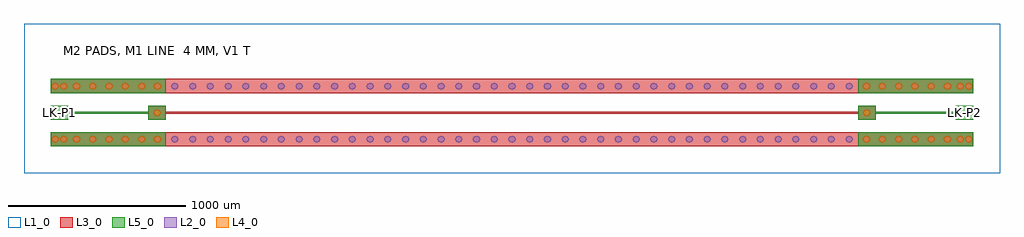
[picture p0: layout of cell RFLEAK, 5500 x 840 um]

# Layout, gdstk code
import gdstk
lib = gdstk.Library(unit=1e-6, precision=1e-09)
def R(c, l, rs):  # rectangles x0, y0, x1, y1
    for r in rs: c.add(gdstk.rectangle(r[:2], r[2:], *l))
def A(c, l, x, y, w, h, nx, ny, dx, dy):  # array of equal rectangles
    R(c, l, [(x+i*dx, y+j*dy, x+i*dx+w, y+j*dy+h) for i in range(nx) for j in range(ny)])
def P(c, l, *ps):  # polygons
    for p in ps: c.add(gdstk.Polygon(p, *l))
L1_0 = (1, 0)
L2_0 = (2, 0)
L3_0 = (3, 0)
L4_0 = (4, 0)
L5_0 = (5, 0)

rfleak = lib.new_cell('RFLEAK')
R(rfleak, L1_0, [(-2750,-340,2750,500)])
P(rfleak, L2_0, [(-2555,150),(-2560.858,164.142),(-2575,170),(-2589.142,164.142),(-2595,150),(-2589.142,135.858),(-2575,130),(-2560.858,135.858)],
  [(-2505,150),(-2510.858,164.142),(-2525,170),(-2539.142,164.142),(-2545,150),(-2539.142,135.858),(-2525,130),(-2510.858,135.858)],
  [(-2555,-150),(-2560.858,-135.858),(-2575,-130),(-2589.142,-135.858),(-2595,-150),(-2589.142,-164.142),(-2575,-170),(-2560.858,-164.142)],
  [(-2505,-150),(-2510.858,-135.858),(-2525,-130),(-2539.142,-135.858),(-2545,-150),(-2539.142,-164.142),(-2525,-170),(-2510.858,-164.142)],
  [(2545,150),(2539.142,164.142),(2525,170),(2510.858,164.142),(2505,150),(2510.858,135.858),(2525,130),(2539.142,135.858)],
  [(2595,150),(2589.142,164.142),(2575,170),(2560.858,164.142),(2555,150),(2560.858,135.858),(2575,130),(2589.142,135.858)],
  [(2545,-150),(2539.142,-135.858),(2525,-130),(2510.858,-135.858),(2505,-150),(2510.858,-164.142),(2525,-170),(2539.142,-164.142)],
  [(2595,-150),(2589.142,-135.858),(2575,-130),(2560.858,-135.858),(2555,-150),(2560.858,-164.142),(2575,-170),(2589.142,-164.142)],
  [(-2434.167,150),(-2440.025,164.142),(-2454.167,170),(-2468.309,164.142),(-2474.167,150),(-2468.309,135.858),(-2454.167,130),(-2440.025,135.858)],
  [(-2342.5,150),(-2348.358,164.142),(-2362.5,170),(-2376.642,164.142),(-2382.5,150),(-2376.642,135.858),(-2362.5,130),(-2348.358,135.858)],
  [(-2250.833,150),(-2256.691,164.142),(-2270.833,170),(-2284.975,164.142),(-2290.833,150),(-2284.975,135.858),(-2270.833,130),(-2256.691,135.858)],
  [(-2159.167,150),(-2165.025,164.142),(-2179.167,170),(-2193.309,164.142),(-2199.167,150),(-2193.309,135.858),(-2179.167,130),(-2165.025,135.858)],
  [(-2067.5,150),(-2073.358,164.142),(-2087.5,170),(-2101.642,164.142),(-2107.5,150),(-2101.642,135.858),(-2087.5,130),(-2073.358,135.858)],
  [(-1975.833,150),(-1981.691,164.142),(-1995.833,170),(-2009.975,164.142),(-2015.833,150),(-2009.975,135.858),(-1995.833,130),(-1981.691,135.858)],
  [(-2434.167,-150),(-2440.025,-135.858),(-2454.167,-130),(-2468.309,-135.858),(-2474.167,-150),(-2468.309,-164.142),(-2454.167,-170),(-2440.025,-164.142)],
  [(-2342.5,-150),(-2348.358,-135.858),(-2362.5,-130),(-2376.642,-135.858),(-2382.5,-150),(-2376.642,-164.142),(-2362.5,-170),(-2348.358,-164.142)],
  [(-2250.833,-150),(-2256.691,-135.858),(-2270.833,-130),(-2284.975,-135.858),(-2290.833,-150),(-2284.975,-164.142),(-2270.833,-170),(-2256.691,-164.142)],
  [(-2159.167,-150),(-2165.025,-135.858),(-2179.167,-130),(-2193.309,-135.858),(-2199.167,-150),(-2193.309,-164.142),(-2179.167,-170),(-2165.025,-164.142)],
  [(-2067.5,-150),(-2073.358,-135.858),(-2087.5,-130),(-2101.642,-135.858),(-2107.5,-150),(-2101.642,-164.142),(-2087.5,-170),(-2073.358,-164.142)],
  [(-1975.833,-150),(-1981.691,-135.858),(-1995.833,-130),(-2009.975,-135.858),(-2015.833,-150),(-2009.975,-164.142),(-1995.833,-170),(-1981.691,-164.142)],
  [(2015.833,150),(2009.975,164.142),(1995.833,170),(1981.691,164.142),(1975.833,150),(1981.691,135.858),(1995.833,130),(2009.975,135.858)],
  [(2107.5,150),(2101.642,164.142),(2087.5,170),(2073.358,164.142),(2067.5,150),(2073.358,135.858),(2087.5,130),(2101.642,135.858)],
  [(2199.167,150),(2193.309,164.142),(2179.167,170),(2165.025,164.142),(2159.167,150),(2165.025,135.858),(2179.167,130),(2193.309,135.858)],
  [(2290.833,150),(2284.975,164.142),(2270.833,170),(2256.691,164.142),(2250.833,150),(2256.691,135.858),(2270.833,130),(2284.975,135.858)],
  [(2382.5,150),(2376.642,164.142),(2362.5,170),(2348.358,164.142),(2342.5,150),(2348.358,135.858),(2362.5,130),(2376.642,135.858)],
  [(2474.167,150),(2468.309,164.142),(2454.167,170),(2440.025,164.142),(2434.167,150),(2440.025,135.858),(2454.167,130),(2468.309,135.858)],
  [(2015.833,-150),(2009.975,-135.858),(1995.833,-130),(1981.691,-135.858),(1975.833,-150),(1981.691,-164.142),(1995.833,-170),(2009.975,-164.142)],
  [(2107.5,-150),(2101.642,-135.858),(2087.5,-130),(2073.358,-135.858),(2067.5,-150),(2073.358,-164.142),(2087.5,-170),(2101.642,-164.142)],
  [(2199.167,-150),(2193.309,-135.858),(2179.167,-130),(2165.025,-135.858),(2159.167,-150),(2165.025,-164.142),(2179.167,-170),(2193.309,-164.142)],
  [(2290.833,-150),(2284.975,-135.858),(2270.833,-130),(2256.691,-135.858),(2250.833,-150),(2256.691,-164.142),(2270.833,-170),(2284.975,-164.142)],
  [(2382.5,-150),(2376.642,-135.858),(2362.5,-130),(2348.358,-135.858),(2342.5,-150),(2348.358,-164.142),(2362.5,-170),(2376.642,-164.142)],
  [(2474.167,-150),(2468.309,-135.858),(2454.167,-130),(2440.025,-135.858),(2434.167,-150),(2440.025,-164.142),(2454.167,-170),(2468.309,-164.142)],
  [(-1880,150),(-1885.858,164.142),(-1900,170),(-1914.142,164.142),(-1920,150),(-1914.142,135.858),(-1900,130),(-1885.858,135.858)],
  [(-1780,150),(-1785.858,164.142),(-1800,170),(-1814.142,164.142),(-1820,150),(-1814.142,135.858),(-1800,130),(-1785.858,135.858)],
  [(-1680,150),(-1685.858,164.142),(-1700,170),(-1714.142,164.142),(-1720,150),(-1714.142,135.858),(-1700,130),(-1685.858,135.858)],
  [(-1580,150),(-1585.858,164.142),(-1600,170),(-1614.142,164.142),(-1620,150),(-1614.142,135.858),(-1600,130),(-1585.858,135.858)],
  [(-1480,150),(-1485.858,164.142),(-1500,170),(-1514.142,164.142),(-1520,150),(-1514.142,135.858),(-1500,130),(-1485.858,135.858)],
  [(-1380,150),(-1385.858,164.142),(-1400,170),(-1414.142,164.142),(-1420,150),(-1414.142,135.858),(-1400,130),(-1385.858,135.858)],
  [(-1280,150),(-1285.858,164.142),(-1300,170),(-1314.142,164.142),(-1320,150),(-1314.142,135.858),(-1300,130),(-1285.858,135.858)],
  [(-1180,150),(-1185.858,164.142),(-1200,170),(-1214.142,164.142),(-1220,150),(-1214.142,135.858),(-1200,130),(-1185.858,135.858)],
  [(-1080,150),(-1085.858,164.142),(-1100,170),(-1114.142,164.142),(-1120,150),(-1114.142,135.858),(-1100,130),(-1085.858,135.858)],
  [(-980,150),(-985.858,164.142),(-1000,170),(-1014.142,164.142),(-1020,150),(-1014.142,135.858),(-1000,130),(-985.858,135.858)],
  [(-880,150),(-885.858,164.142),(-900,170),(-914.142,164.142),(-920,150),(-914.142,135.858),(-900,130),(-885.858,135.858)],
  [(-780,150),(-785.858,164.142),(-800,170),(-814.142,164.142),(-820,150),(-814.142,135.858),(-800,130),(-785.858,135.858)],
  [(-680,150),(-685.858,164.142),(-700,170),(-714.142,164.142),(-720,150),(-714.142,135.858),(-700,130),(-685.858,135.858)],
  [(-580,150),(-585.858,164.142),(-600,170),(-614.142,164.142),(-620,150),(-614.142,135.858),(-600,130),(-585.858,135.858)],
  [(-480,150),(-485.858,164.142),(-500,170),(-514.142,164.142),(-520,150),(-514.142,135.858),(-500,130),(-485.858,135.858)],
  [(-380,150),(-385.858,164.142),(-400,170),(-414.142,164.142),(-420,150),(-414.142,135.858),(-400,130),(-385.858,135.858)],
  [(-280,150),(-285.858,164.142),(-300,170),(-314.142,164.142),(-320,150),(-314.142,135.858),(-300,130),(-285.858,135.858)],
  [(-180,150),(-185.858,164.142),(-200,170),(-214.142,164.142),(-220,150),(-214.142,135.858),(-200,130),(-185.858,135.858)],
  [(-80,150),(-85.858,164.142),(-100,170),(-114.142,164.142),(-120,150),(-114.142,135.858),(-100,130),(-85.858,135.858)],
  [(20,150),(14.142,164.142),(0,170),(-14.142,164.142),(-20,150),(-14.142,135.858),(0,130),(14.142,135.858)],
  [(120,150),(114.142,164.142),(100,170),(85.858,164.142),(80,150),(85.858,135.858),(100,130),(114.142,135.858)],
  [(220,150),(214.142,164.142),(200,170),(185.858,164.142),(180,150),(185.858,135.858),(200,130),(214.142,135.858)],
  [(320,150),(314.142,164.142),(300,170),(285.858,164.142),(280,150),(285.858,135.858),(300,130),(314.142,135.858)],
  [(420,150),(414.142,164.142),(400,170),(385.858,164.142),(380,150),(385.858,135.858),(400,130),(414.142,135.858)],
  [(520,150),(514.142,164.142),(500,170),(485.858,164.142),(480,150),(485.858,135.858),(500,130),(514.142,135.858)],
  [(620,150),(614.142,164.142),(600,170),(585.858,164.142),(580,150),(585.858,135.858),(600,130),(614.142,135.858)],
  [(720,150),(714.142,164.142),(700,170),(685.858,164.142),(680,150),(685.858,135.858),(700,130),(714.142,135.858)],
  [(820,150),(814.142,164.142),(800,170),(785.858,164.142),(780,150),(785.858,135.858),(800,130),(814.142,135.858)],
  [(920,150),(914.142,164.142),(900,170),(885.858,164.142),(880,150),(885.858,135.858),(900,130),(914.142,135.858)],
  [(1020,150),(1014.142,164.142),(1000,170),(985.858,164.142),(980,150),(985.858,135.858),(1000,130),(1014.142,135.858)],
  [(1120,150),(1114.142,164.142),(1100,170),(1085.858,164.142),(1080,150),(1085.858,135.858),(1100,130),(1114.142,135.858)],
  [(1220,150),(1214.142,164.142),(1200,170),(1185.858,164.142),(1180,150),(1185.858,135.858),(1200,130),(1214.142,135.858)],
  [(1320,150),(1314.142,164.142),(1300,170),(1285.858,164.142),(1280,150),(1285.858,135.858),(1300,130),(1314.142,135.858)],
  [(1420,150),(1414.142,164.142),(1400,170),(1385.858,164.142),(1380,150),(1385.858,135.858),(1400,130),(1414.142,135.858)],
  [(1520,150),(1514.142,164.142),(1500,170),(1485.858,164.142),(1480,150),(1485.858,135.858),(1500,130),(1514.142,135.858)],
  [(1620,150),(1614.142,164.142),(1600,170),(1585.858,164.142),(1580,150),(1585.858,135.858),(1600,130),(1614.142,135.858)],
  [(1720,150),(1714.142,164.142),(1700,170),(1685.858,164.142),(1680,150),(1685.858,135.858),(1700,130),(1714.142,135.858)],
  [(1820,150),(1814.142,164.142),(1800,170),(1785.858,164.142),(1780,150),(1785.858,135.858),(1800,130),(1814.142,135.858)],
  [(1920,150),(1914.142,164.142),(1900,170),(1885.858,164.142),(1880,150),(1885.858,135.858),(1900,130),(1914.142,135.858)],
  [(-1880,-150),(-1885.858,-135.858),(-1900,-130),(-1914.142,-135.858),(-1920,-150),(-1914.142,-164.142),(-1900,-170),(-1885.858,-164.142)],
  [(-1780,-150),(-1785.858,-135.858),(-1800,-130),(-1814.142,-135.858),(-1820,-150),(-1814.142,-164.142),(-1800,-170),(-1785.858,-164.142)],
  [(-1680,-150),(-1685.858,-135.858),(-1700,-130),(-1714.142,-135.858),(-1720,-150),(-1714.142,-164.142),(-1700,-170),(-1685.858,-164.142)],
  [(-1580,-150),(-1585.858,-135.858),(-1600,-130),(-1614.142,-135.858),(-1620,-150),(-1614.142,-164.142),(-1600,-170),(-1585.858,-164.142)],
  [(-1480,-150),(-1485.858,-135.858),(-1500,-130),(-1514.142,-135.858),(-1520,-150),(-1514.142,-164.142),(-1500,-170),(-1485.858,-164.142)],
  [(-1380,-150),(-1385.858,-135.858),(-1400,-130),(-1414.142,-135.858),(-1420,-150),(-1414.142,-164.142),(-1400,-170),(-1385.858,-164.142)],
  [(-1280,-150),(-1285.858,-135.858),(-1300,-130),(-1314.142,-135.858),(-1320,-150),(-1314.142,-164.142),(-1300,-170),(-1285.858,-164.142)],
  [(-1180,-150),(-1185.858,-135.858),(-1200,-130),(-1214.142,-135.858),(-1220,-150),(-1214.142,-164.142),(-1200,-170),(-1185.858,-164.142)],
  [(-1080,-150),(-1085.858,-135.858),(-1100,-130),(-1114.142,-135.858),(-1120,-150),(-1114.142,-164.142),(-1100,-170),(-1085.858,-164.142)],
  [(-980,-150),(-985.858,-135.858),(-1000,-130),(-1014.142,-135.858),(-1020,-150),(-1014.142,-164.142),(-1000,-170),(-985.858,-164.142)],
  [(-880,-150),(-885.858,-135.858),(-900,-130),(-914.142,-135.858),(-920,-150),(-914.142,-164.142),(-900,-170),(-885.858,-164.142)],
  [(-780,-150),(-785.858,-135.858),(-800,-130),(-814.142,-135.858),(-820,-150),(-814.142,-164.142),(-800,-170),(-785.858,-164.142)],
  [(-680,-150),(-685.858,-135.858),(-700,-130),(-714.142,-135.858),(-720,-150),(-714.142,-164.142),(-700,-170),(-685.858,-164.142)],
  [(-580,-150),(-585.858,-135.858),(-600,-130),(-614.142,-135.858),(-620,-150),(-614.142,-164.142),(-600,-170),(-585.858,-164.142)],
  [(-480,-150),(-485.858,-135.858),(-500,-130),(-514.142,-135.858),(-520,-150),(-514.142,-164.142),(-500,-170),(-485.858,-164.142)],
  [(-380,-150),(-385.858,-135.858),(-400,-130),(-414.142,-135.858),(-420,-150),(-414.142,-164.142),(-400,-170),(-385.858,-164.142)],
  [(-280,-150),(-285.858,-135.858),(-300,-130),(-314.142,-135.858),(-320,-150),(-314.142,-164.142),(-300,-170),(-285.858,-164.142)],
  [(-180,-150),(-185.858,-135.858),(-200,-130),(-214.142,-135.858),(-220,-150),(-214.142,-164.142),(-200,-170),(-185.858,-164.142)],
  [(-80,-150),(-85.858,-135.858),(-100,-130),(-114.142,-135.858),(-120,-150),(-114.142,-164.142),(-100,-170),(-85.858,-164.142)],
  [(20,-150),(14.142,-135.858),(0,-130),(-14.142,-135.858),(-20,-150),(-14.142,-164.142),(0,-170),(14.142,-164.142)],
  [(120,-150),(114.142,-135.858),(100,-130),(85.858,-135.858),(80,-150),(85.858,-164.142),(100,-170),(114.142,-164.142)],
  [(220,-150),(214.142,-135.858),(200,-130),(185.858,-135.858),(180,-150),(185.858,-164.142),(200,-170),(214.142,-164.142)],
  [(320,-150),(314.142,-135.858),(300,-130),(285.858,-135.858),(280,-150),(285.858,-164.142),(300,-170),(314.142,-164.142)],
  [(420,-150),(414.142,-135.858),(400,-130),(385.858,-135.858),(380,-150),(385.858,-164.142),(400,-170),(414.142,-164.142)],
  [(520,-150),(514.142,-135.858),(500,-130),(485.858,-135.858),(480,-150),(485.858,-164.142),(500,-170),(514.142,-164.142)],
  [(620,-150),(614.142,-135.858),(600,-130),(585.858,-135.858),(580,-150),(585.858,-164.142),(600,-170),(614.142,-164.142)],
  [(720,-150),(714.142,-135.858),(700,-130),(685.858,-135.858),(680,-150),(685.858,-164.142),(700,-170),(714.142,-164.142)],
  [(820,-150),(814.142,-135.858),(800,-130),(785.858,-135.858),(780,-150),(785.858,-164.142),(800,-170),(814.142,-164.142)],
  [(920,-150),(914.142,-135.858),(900,-130),(885.858,-135.858),(880,-150),(885.858,-164.142),(900,-170),(914.142,-164.142)],
  [(1020,-150),(1014.142,-135.858),(1000,-130),(985.858,-135.858),(980,-150),(985.858,-164.142),(1000,-170),(1014.142,-164.142)],
  [(1120,-150),(1114.142,-135.858),(1100,-130),(1085.858,-135.858),(1080,-150),(1085.858,-164.142),(1100,-170),(1114.142,-164.142)],
  [(1220,-150),(1214.142,-135.858),(1200,-130),(1185.858,-135.858),(1180,-150),(1185.858,-164.142),(1200,-170),(1214.142,-164.142)],
  [(1320,-150),(1314.142,-135.858),(1300,-130),(1285.858,-135.858),(1280,-150),(1285.858,-164.142),(1300,-170),(1314.142,-164.142)],
  [(1420,-150),(1414.142,-135.858),(1400,-130),(1385.858,-135.858),(1380,-150),(1385.858,-164.142),(1400,-170),(1414.142,-164.142)],
  [(1520,-150),(1514.142,-135.858),(1500,-130),(1485.858,-135.858),(1480,-150),(1485.858,-164.142),(1500,-170),(1514.142,-164.142)],
  [(1620,-150),(1614.142,-135.858),(1600,-130),(1585.858,-135.858),(1580,-150),(1585.858,-164.142),(1600,-170),(1614.142,-164.142)],
  [(1720,-150),(1714.142,-135.858),(1700,-130),(1685.858,-135.858),(1680,-150),(1685.858,-164.142),(1700,-170),(1714.142,-164.142)],
  [(1820,-150),(1814.142,-135.858),(1800,-130),(1785.858,-135.858),(1780,-150),(1785.858,-164.142),(1800,-170),(1814.142,-164.142)],
  [(1920,-150),(1914.142,-135.858),(1900,-130),(1885.858,-135.858),(1880,-150),(1885.858,-164.142),(1900,-170),(1914.142,-164.142)])
R(rfleak, L3_0, [(-2600,-190,-2500,-110), (-2500,-190,-1950,-110), (-1950,-190,1950,-110), (1950,-190,2500,-110), (2500,-190,2600,-110), (-2050,-40,-1950,40), (1950,-40,2050,40), (-2000,-6.216,2000,6.216), (-2600,110,-2500,190), (-2500,110,-1950,190), (-1950,110,1950,190), (1950,110,2500,190), (2500,110,2600,190)])
P(rfleak, L4_0, [(-2555,150),(-2560.858,164.142),(-2575,170),(-2589.142,164.142),(-2595,150),(-2589.142,135.858),(-2575,130),(-2560.858,135.858)],
  [(-2505,150),(-2510.858,164.142),(-2525,170),(-2539.142,164.142),(-2545,150),(-2539.142,135.858),(-2525,130),(-2510.858,135.858)],
  [(-2555,-150),(-2560.858,-135.858),(-2575,-130),(-2589.142,-135.858),(-2595,-150),(-2589.142,-164.142),(-2575,-170),(-2560.858,-164.142)],
  [(-2505,-150),(-2510.858,-135.858),(-2525,-130),(-2539.142,-135.858),(-2545,-150),(-2539.142,-164.142),(-2525,-170),(-2510.858,-164.142)],
  [(2545,150),(2539.142,164.142),(2525,170),(2510.858,164.142),(2505,150),(2510.858,135.858),(2525,130),(2539.142,135.858)],
  [(2595,150),(2589.142,164.142),(2575,170),(2560.858,164.142),(2555,150),(2560.858,135.858),(2575,130),(2589.142,135.858)],
  [(2545,-150),(2539.142,-135.858),(2525,-130),(2510.858,-135.858),(2505,-150),(2510.858,-164.142),(2525,-170),(2539.142,-164.142)],
  [(2595,-150),(2589.142,-135.858),(2575,-130),(2560.858,-135.858),(2555,-150),(2560.858,-164.142),(2575,-170),(2589.142,-164.142)],
  [(-2434.167,150),(-2440.025,164.142),(-2454.167,170),(-2468.309,164.142),(-2474.167,150),(-2468.309,135.858),(-2454.167,130),(-2440.025,135.858)],
  [(-2342.5,150),(-2348.358,164.142),(-2362.5,170),(-2376.642,164.142),(-2382.5,150),(-2376.642,135.858),(-2362.5,130),(-2348.358,135.858)],
  [(-2250.833,150),(-2256.691,164.142),(-2270.833,170),(-2284.975,164.142),(-2290.833,150),(-2284.975,135.858),(-2270.833,130),(-2256.691,135.858)],
  [(-2159.167,150),(-2165.025,164.142),(-2179.167,170),(-2193.309,164.142),(-2199.167,150),(-2193.309,135.858),(-2179.167,130),(-2165.025,135.858)],
  [(-2067.5,150),(-2073.358,164.142),(-2087.5,170),(-2101.642,164.142),(-2107.5,150),(-2101.642,135.858),(-2087.5,130),(-2073.358,135.858)],
  [(-1975.833,150),(-1981.691,164.142),(-1995.833,170),(-2009.975,164.142),(-2015.833,150),(-2009.975,135.858),(-1995.833,130),(-1981.691,135.858)],
  [(-2434.167,-150),(-2440.025,-135.858),(-2454.167,-130),(-2468.309,-135.858),(-2474.167,-150),(-2468.309,-164.142),(-2454.167,-170),(-2440.025,-164.142)],
  [(-2342.5,-150),(-2348.358,-135.858),(-2362.5,-130),(-2376.642,-135.858),(-2382.5,-150),(-2376.642,-164.142),(-2362.5,-170),(-2348.358,-164.142)],
  [(-2250.833,-150),(-2256.691,-135.858),(-2270.833,-130),(-2284.975,-135.858),(-2290.833,-150),(-2284.975,-164.142),(-2270.833,-170),(-2256.691,-164.142)],
  [(-2159.167,-150),(-2165.025,-135.858),(-2179.167,-130),(-2193.309,-135.858),(-2199.167,-150),(-2193.309,-164.142),(-2179.167,-170),(-2165.025,-164.142)],
  [(-2067.5,-150),(-2073.358,-135.858),(-2087.5,-130),(-2101.642,-135.858),(-2107.5,-150),(-2101.642,-164.142),(-2087.5,-170),(-2073.358,-164.142)],
  [(-1975.833,-150),(-1981.691,-135.858),(-1995.833,-130),(-2009.975,-135.858),(-2015.833,-150),(-2009.975,-164.142),(-1995.833,-170),(-1981.691,-164.142)],
  [(2015.833,150),(2009.975,164.142),(1995.833,170),(1981.691,164.142),(1975.833,150),(1981.691,135.858),(1995.833,130),(2009.975,135.858)],
  [(2107.5,150),(2101.642,164.142),(2087.5,170),(2073.358,164.142),(2067.5,150),(2073.358,135.858),(2087.5,130),(2101.642,135.858)],
  [(2199.167,150),(2193.309,164.142),(2179.167,170),(2165.025,164.142),(2159.167,150),(2165.025,135.858),(2179.167,130),(2193.309,135.858)],
  [(2290.833,150),(2284.975,164.142),(2270.833,170),(2256.691,164.142),(2250.833,150),(2256.691,135.858),(2270.833,130),(2284.975,135.858)],
  [(2382.5,150),(2376.642,164.142),(2362.5,170),(2348.358,164.142),(2342.5,150),(2348.358,135.858),(2362.5,130),(2376.642,135.858)],
  [(2474.167,150),(2468.309,164.142),(2454.167,170),(2440.025,164.142),(2434.167,150),(2440.025,135.858),(2454.167,130),(2468.309,135.858)],
  [(2015.833,-150),(2009.975,-135.858),(1995.833,-130),(1981.691,-135.858),(1975.833,-150),(1981.691,-164.142),(1995.833,-170),(2009.975,-164.142)],
  [(2107.5,-150),(2101.642,-135.858),(2087.5,-130),(2073.358,-135.858),(2067.5,-150),(2073.358,-164.142),(2087.5,-170),(2101.642,-164.142)],
  [(2199.167,-150),(2193.309,-135.858),(2179.167,-130),(2165.025,-135.858),(2159.167,-150),(2165.025,-164.142),(2179.167,-170),(2193.309,-164.142)],
  [(2290.833,-150),(2284.975,-135.858),(2270.833,-130),(2256.691,-135.858),(2250.833,-150),(2256.691,-164.142),(2270.833,-170),(2284.975,-164.142)],
  [(2382.5,-150),(2376.642,-135.858),(2362.5,-130),(2348.358,-135.858),(2342.5,-150),(2348.358,-164.142),(2362.5,-170),(2376.642,-164.142)],
  [(2474.167,-150),(2468.309,-135.858),(2454.167,-130),(2440.025,-135.858),(2434.167,-150),(2440.025,-164.142),(2454.167,-170),(2468.309,-164.142)],
  [(-1980,0),(-1985.858,14.142),(-2000,20),(-2014.142,14.142),(-2020,0),(-2014.142,-14.142),(-2000,-20),(-1985.858,-14.142)],
  [(-1980,150),(-1985.858,164.142),(-2000,170),(-2014.142,164.142),(-2020,150),(-2014.142,135.858),(-2000,130),(-1985.858,135.858)],
  [(-1980,-150),(-1985.858,-135.858),(-2000,-130),(-2014.142,-135.858),(-2020,-150),(-2014.142,-164.142),(-2000,-170),(-1985.858,-164.142)],
  [(2020,0),(2014.142,14.142),(2000,20),(1985.858,14.142),(1980,0),(1985.858,-14.142),(2000,-20),(2014.142,-14.142)],
  [(2020,150),(2014.142,164.142),(2000,170),(1985.858,164.142),(1980,150),(1985.858,135.858),(2000,130),(2014.142,135.858)],
  [(2020,-150),(2014.142,-135.858),(2000,-130),(1985.858,-135.858),(1980,-150),(1985.858,-164.142),(2000,-170),(2014.142,-164.142)])
A(rfleak, L5_0, -2600, -190, 100, 80, 1, 3, 0, 150)
A(rfleak, L5_0, 2500, -190, 100, 80, 1, 3, 0, 150)
R(rfleak, L5_0, [(-2500,-190,-1950,-110), (1950,-190,2500,-110), (-2050,-40,-1950,40), (1950,-40,2050,40), (-2500,-6.216,-2000,6.216), (2000,-6.216,2500,6.216), (-2500,110,-1950,190), (1950,110,2500,190)])
rfleak.add(gdstk.Label('LK-P1', (-2550,0), layer=10, texttype=0))
rfleak.add(gdstk.Label('LK-P2', (2550,0), layer=10, texttype=0))
rfleak.add(gdstk.Label('M2 PADS, M1 LINE  4 MM, V1 TRANSITIONS', (-2000,350), layer=11, texttype=0))

lib.write_gds('RFLEAK.gds')
